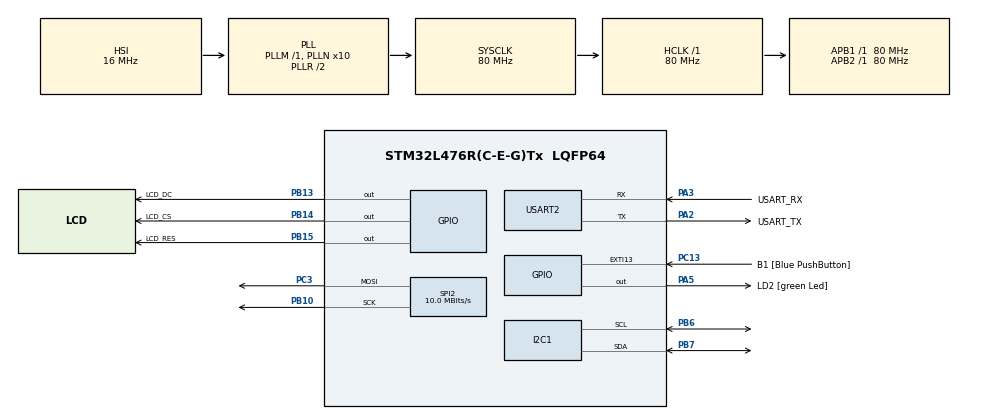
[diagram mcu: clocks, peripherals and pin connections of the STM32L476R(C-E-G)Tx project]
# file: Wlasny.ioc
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I2C1.Timing=0x10D19CE4
Mcu.Family=STM32L4
Mcu.Name=STM32L476R(C-E-G)Tx
Mcu.Package=LQFP64
NVIC.PriorityGroup=NVIC_PRIORITYGROUP_4
PA13\ (JTMS-SWDIO).GPIO_Label=TMS
PA13\ (JTMS-SWDIO).Mode=Serial_Wire
PA13\ (JTMS-SWDIO).Signal=SYS_JTMS-SWDIO
PA14\ (JTCK-SWCLK).GPIO_Label=TCK
PA14\ (JTCK-SWCLK).Mode=Serial_Wire
PA14\ (JTCK-SWCLK).Signal=SYS_JTCK-SWCLK
PA2.GPIO_Label=USART_TX
PA2.GPIO_Mode=GPIO_MODE_AF_PP
PA2.GPIO_PuPd=GPIO_NOPULL
PA2.GPIO_Speed=GPIO_SPEED_FREQ_VERY_HIGH
PA2.Mode=Asynchronous
PA2.Signal=USART2_TX
PA3.GPIO_Label=USART_RX
PA3.GPIO_Mode=GPIO_MODE_AF_PP
PA3.GPIO_PuPd=GPIO_NOPULL
PA3.GPIO_Speed=GPIO_SPEED_FREQ_VERY_HIGH
PA3.Mode=Asynchronous
PA3.Signal=USART2_RX
PA5.GPIO_Label=LD2 [green Led]
PA5.GPIO_ModeDefaultOutputPP=GPIO_MODE_OUTPUT_PP
PA5.GPIO_PuPd=GPIO_NOPULL
PA5.GPIO_Speed=GPIO_SPEED_FREQ_LOW
PA5.Signal=GPIO_Output
PB10.Mode=TX_Only_Simplex_Unidirect_Master
PB10.Signal=SPI2_SCK
PB13.GPIO_Label=LCD_DC
PB13.GPIO_PuPd=GPIO_PULLUP
PB13.Signal=GPIO_Output
PB14.GPIO_Label=LCD_CS
PB14.GPIO_PuPd=GPIO_PULLUP
PB14.PinState=GPIO_PIN_SET
PB14.Signal=GPIO_Output
PB15.GPIO_Label=LCD_RES
PB15.GPIO_PuPd=GPIO_PULLUP
PB15.PinState=GPIO_PIN_SET
PB15.Signal=GPIO_Output
PB3\ (JTDO-TRACESWO).GPIO_Label=SWO
PB3\ (JTDO-TRACESWO).Signal=SYS_JTDO-SWO
PB6.Mode=I2C
PB6.Signal=I2C1_SCL
PB7.Mode=I2C
PB7.Signal=I2C1_SDA
PC13.GPIO_Label=B1 [Blue PushButton]
PC13.GPIO_ModeDefaultEXTI=GPIO_MODE_IT_FALLING
PC13.GPIO_PuPd=GPIO_NOPULL
PC13.Signal=GPXTI13
PC14-OSC32_IN\ (PC14).Mode=LSE-External-Oscillator
PC14-OSC32_IN\ (PC14).Signal=RCC_OSC32_IN
PC15-OSC32_OUT\ (PC15).Mode=LSE-External-Oscillator
PC15-OSC32_OUT\ (PC15).Signal=RCC_OSC32_OUT
PC3.Mode=TX_Only_Simplex_Unidirect_Master
PC3.Signal=SPI2_MOSI
PH0-OSC_IN\ (PH0).Signal=RCC_OSC_IN
PH1-OSC_OUT\ (PH1).Signal=RCC_OSC_OUT
ProjectManager.HeapSize=0x200
ProjectManager.StackSize=0x400
ProjectManager.TargetToolchain=STM32CubeIDE
RCC.ADCFreq_Value=64000000
RCC.AHBFreq_Value=80000000
RCC.APB1Freq_Value=80000000
RCC.APB1TimFreq_Value=80000000
RCC.APB2Freq_Value=80000000
RCC.APB2TimFreq_Value=80000000
RCC.CortexFreq_Value=80000000
RCC.HCLKFreq_Value=80000000
RCC.HSE_VALUE=8000000
RCC.HSI_VALUE=16000000
RCC.MSI_VALUE=4000000
RCC.PLLN=10
RCC.PLLSourceVirtual=RCC_PLLSOURCE_HSI
RCC.PREFETCH_ENABLE=1
RCC.SYSCLKFreq_VALUE=80000000
RCC.SYSCLKSource=RCC_SYSCLKSOURCE_PLLCLK
RCC.USBFreq_Value=64000000
RCC.VCOOutputFreq_Value=160000000
SPI2.BaudRatePrescaler=SPI_BAUDRATEPRESCALER_8
SPI2.CLKPhase=SPI_PHASE_2EDGE
SPI2.CLKPolarity=SPI_POLARITY_HIGH
SPI2.CalculateBaudRate=10.0 MBits/s
SPI2.DataSize=SPI_DATASIZE_8BIT
SPI2.Direction=SPI_DIRECTION_2LINES
SPI2.Mode=SPI_MODE_MASTER
SPI2.VirtualType=VM_MASTER
USART2.VirtualMode-Asynchronous=VM_ASYNC
board=NUCLEO-L476RG

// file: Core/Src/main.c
/* USER CODE BEGIN Header */
/**
  ******************************************************************************
  * @file           : main.c
  * @brief          : Main program body
  ******************************************************************************
  * @attention
  *
  * Copyright (c) 2026 STMicroelectronics.
  * All rights reserved.
  *
  * This software is licensed under terms that can be found in the LICENSE file
  * in the root directory of this software component.
  * If no LICENSE file comes with this software, it is provided AS-IS.
  *
  ******************************************************************************
  */
/* USER CODE END Header */
#include "main.h"
#include "i2c.h"
#include "spi.h"
#include "usart.h"
#include "gpio.h"

/* USER CODE BEGIN Includes */
#include <stdbool.h>
#include <stdio.h>
#include "bmp280.h"
#include "gc9a01.h"
/* USER CODE END Includes */

/* USER CODE BEGIN PD */
#define UART_TX_TIMEOUT_MS   200U
#define SENSOR_PERIOD_MS     300U   /* longer than sensor cycle (250 ms + conversion) */
#define SENSOR_RETRY_MS      2000U
#define SENSOR_MAX_ERRORS    3U     /* failed reads before bus recovery */

/* LCD layout: the screen is round, so rows near the edges are shorter */
#define UI_TEXT_SIZE         24U   /* text buffer, including terminator */
#define UI_STATUS_Y          28
#define UI_STATUS_X          48
#define UI_STATUS_WIDTH      144
#define UI_TEMP_LABEL_Y      58
#define UI_TEMP_VALUE_Y      76
#define UI_PRESS_LABEL_Y     108
#define UI_PRESS_VALUE_Y     126
#define UI_HUM_LABEL_Y       158
#define UI_HUM_VALUE_Y       176
#define UI_RING_RADIUS       118
/* USER CODE END PD */

/* USER CODE BEGIN PV */
static BMP280_HandleTypedef bmp280;
static float pressure, temperature, humidity;

static const GC9A01_HandleTypeDef lcd = {
  .hspi = &hspi2,
  .cs_port = LCD_CS_GPIO_Port,
  .cs_pin = LCD_CS_Pin,
  .dc_port = LCD_DC_GPIO_Port,
  .dc_pin = LCD_DC_Pin,
  .res_port = LCD_RES_GPIO_Port,
  .res_pin = LCD_RES_Pin
};
static bool lcdReady;
/* USER CODE END PV */

void SystemClock_Config(void);
/* USER CODE BEGIN PFP */
static void Sensor_Start(void);
static void UI_Start(void);
static void UI_Check(HAL_StatusTypeDef status);
static void UI_ShowStatus(const char *text, uint16_t color);
static void UI_ShowSensorName(void);
static void UI_ShowValues(void);
/* USER CODE END PFP */

/* USER CODE BEGIN 0 */
int _write(int file, char *ptr, int len)
{
  (void)file;
  if (HAL_UART_Transmit(&huart2, (uint8_t *)ptr, (uint16_t)len, UART_TX_TIMEOUT_MS) != HAL_OK)
  {
    return -1;
  }
  return len;
}

/* Initializes the sensor, recovering the I2C bus between attempts. */
static void Sensor_Start(void)
{
  while (!bmp280_init(&bmp280, &bmp280.params))
  {
    printf("BMP280 initialization failed\r\n");
    UI_ShowStatus("Brak czujnika", GC9A01_RED);
    HAL_Delay(SENSOR_RETRY_MS);
    I2C1_Recover();
  }
  printf("BMP280: found %s\r\n", (bmp280.id == BME280_CHIP_ID) ? "BME280" : "BMP280");
  UI_ShowSensorName();
}

/* Turns the LCD output off after a failed SPI transfer, so that a display
   problem never stops the measurements. */
static void UI_Check(HAL_StatusTypeDef status)
{
  if (status != HAL_OK)
  {
    lcdReady = false;
    printf("LCD transfer failed\r\n");
  }
}

/* Initializes the LCD and draws the fixed part of the screen. */
static void UI_Start(void)
{
  lcdReady = true;
  UI_Check(GC9A01_Init(&lcd));
  if (lcdReady)
  {
    UI_Check(GC9A01_FillScreen(&lcd, GC9A01_BLACK));
  }
  if (lcdReady)
  {
    UI_Check(GC9A01_DrawCircle(&lcd, GC9A01_WIDTH / 2, GC9A01_HEIGHT / 2, UI_RING_RADIUS, GC9A01_GRAY));
  }
  if (lcdReady)
  {
    UI_Check(GC9A01_DrawStringCentered(&lcd, UI_TEMP_LABEL_Y, "Temperatura", &Font16, GC9A01_GRAY, GC9A01_BLACK));
  }
  if (lcdReady)
  {
    UI_Check(GC9A01_DrawStringCentered(&lcd, UI_PRESS_LABEL_Y, "Cisnienie", &Font16, GC9A01_GRAY, GC9A01_BLACK));
  }
}

/* Shows a short message (max 13 characters) in the top row. */
static void UI_ShowStatus(const char *text, uint16_t color)
{
  if (lcdReady)
  {
    UI_Check(GC9A01_FillRect(&lcd, UI_STATUS_X, UI_STATUS_Y, UI_STATUS_WIDTH, Font16.Height, GC9A01_BLACK));
  }
  if (lcdReady)
  {
    UI_Check(GC9A01_DrawStringCentered(&lcd, UI_STATUS_Y, text, &Font16, color, GC9A01_BLACK));
  }
}

static void UI_ShowSensorName(void)
{
  UI_ShowStatus((bmp280.id == BME280_CHIP_ID) ? "BME280" : "BMP280", GC9A01_GREEN);
}

/* Fixed field widths: each new value overwrites the old one, without flicker. */
static void UI_ShowValues(void)
{
  char text[UI_TEXT_SIZE];

  if (lcdReady)
  {
    (void)snprintf(text, sizeof(text), "%6.2f C", temperature);
    UI_Check(GC9A01_DrawStringCentered(&lcd, UI_TEMP_VALUE_Y, text, &Font24, GC9A01_ORANGE, GC9A01_BLACK));
  }
  if (lcdReady)
  {
    (void)snprintf(text, sizeof(text), "%7.2f hPa", pressure / 100.0f);
    UI_Check(GC9A01_DrawStringCentered(&lcd, UI_PRESS_VALUE_Y, text, &Font24, GC9A01_CYAN, GC9A01_BLACK));
  }
  if (bmp280.id == BME280_CHIP_ID)
  {
    if (lcdReady)
    {
      UI_Check(GC9A01_DrawStringCentered(&lcd, UI_HUM_LABEL_Y, "Wilgotnosc", &Font16, GC9A01_GRAY, GC9A01_BLACK));
    }
    if (lcdReady)
    {
      (void)snprintf(text, sizeof(text), "%6.2f %%", humidity);
      UI_Check(GC9A01_DrawStringCentered(&lcd, UI_HUM_VALUE_Y, text, &Font24, GC9A01_YELLOW, GC9A01_BLACK));
    }
  }
}
/* USER CODE END 0 */

int main(void)
{

  /* MCU Configuration--------------------------------------------------------*/

  /* Reset of all peripherals, Initializes the Flash interface and the Systick. */
  HAL_Init();

  /* Configure the system clock */
  SystemClock_Config();

  /* Initialize all configured peripherals */
  MX_GPIO_Init();
  MX_USART2_UART_Init();
  MX_I2C1_Init();
  MX_SPI2_Init();
  /* USER CODE BEGIN 2 */

  printf("Start\r\n");
  UI_Start();
  bmp280_init_default_params(&bmp280.params);
  bmp280.addr = BMP280_I2C_ADDRESS_0;
  bmp280.i2c = &hi2c1;
  Sensor_Start();

  uint32_t sensorErrors = 0;

  /* USER CODE END 2 */

  /* Infinite loop */
  while (1)
  {

    /* USER CODE BEGIN 3 */
    HAL_Delay(SENSOR_PERIOD_MS);

    if (bmp280_read_float(&bmp280, &temperature, &pressure, &humidity))
    {
      if (sensorErrors > 0U)
      {
        UI_ShowSensorName();
      }
      sensorErrors = 0;
      UI_ShowValues();
      printf("Press: %.2f hPa, Temp.: %.2f C", pressure / 100.0f, temperature);
      if (bmp280.id == BME280_CHIP_ID)
      {
        printf(", Hum.: %.2f %%", humidity);
      }
      printf("\r\n");
    }
    else
    {
      printf("Sensor reading failed\r\n");
      UI_ShowStatus("Blad odczytu", GC9A01_RED);
      sensorErrors++;
      if (sensorErrors >= SENSOR_MAX_ERRORS)
      {
        I2C1_Recover();
        Sensor_Start();
        sensorErrors = 0;
      }
    }
  }
  /* USER CODE END 3 */
}

void SystemClock_Config(void)
{
  RCC_OscInitTypeDef RCC_OscInitStruct = {0};
  RCC_ClkInitTypeDef RCC_ClkInitStruct = {0};

  /** Configure the main internal regulator output voltage
  */
  if (HAL_PWREx_ControlVoltageScaling(PWR_REGULATOR_VOLTAGE_SCALE1) != HAL_OK)
  {
    Error_Handler();
  }

  /** Initializes the RCC Oscillators according to the specified parameters
  * in the RCC_OscInitTypeDef structure.
  */
  RCC_OscInitStruct.OscillatorType = RCC_OSCILLATORTYPE_HSI;
  RCC_OscInitStruct.HSIState = RCC_HSI_ON;
  RCC_OscInitStruct.HSICalibrationValue = RCC_HSICALIBRATION_DEFAULT;
  RCC_OscInitStruct.PLL.PLLState = RCC_PLL_ON;
  RCC_OscInitStruct.PLL.PLLSource = RCC_PLLSOURCE_HSI;
  RCC_OscInitStruct.PLL.PLLM = 1;
  RCC_OscInitStruct.PLL.PLLN = 10;
  RCC_OscInitStruct.PLL.PLLP = RCC_PLLP_DIV7;
  RCC_OscInitStruct.PLL.PLLQ = RCC_PLLQ_DIV2;
  RCC_OscInitStruct.PLL.PLLR = RCC_PLLR_DIV2;
  if (HAL_RCC_OscConfig(&RCC_OscInitStruct) != HAL_OK)
  {
    Error_Handler();
  }

  /** Initializes the CPU, AHB and APB buses clocks
  */
  RCC_ClkInitStruct.ClockType = RCC_CLOCKTYPE_HCLK|RCC_CLOCKTYPE_SYSCLK
                              |RCC_CLOCKTYPE_PCLK1|RCC_CLOCKTYPE_PCLK2;
  RCC_ClkInitStruct.SYSCLKSource = RCC_SYSCLKSOURCE_PLLCLK;
  RCC_ClkInitStruct.AHBCLKDivider = RCC_SYSCLK_DIV1;
  RCC_ClkInitStruct.APB1CLKDivider = RCC_HCLK_DIV1;
  RCC_ClkInitStruct.APB2CLKDivider = RCC_HCLK_DIV1;

  if (HAL_RCC_ClockConfig(&RCC_ClkInitStruct, FLASH_LATENCY_4) != HAL_OK)
  {
    Error_Handler();
  }
}

void Error_Handler(void)
{
  __disable_irq();
  while (1)
  {
  }
}
